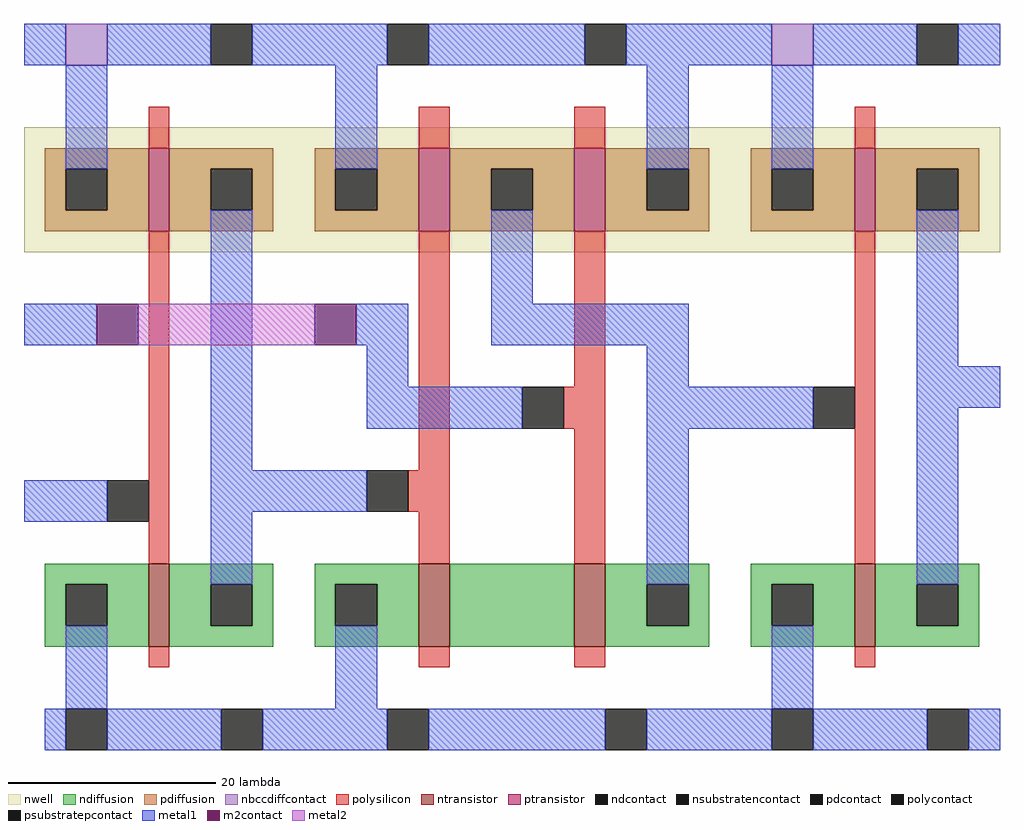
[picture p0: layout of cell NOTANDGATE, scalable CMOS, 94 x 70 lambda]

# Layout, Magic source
magic
tech scmos
<< nwell >>
rect -26 48 68 60
<< polysilicon >>
rect -14 58 -12 62
rect 12 58 15 62
rect 27 58 30 62
rect 54 58 56 62
rect -14 18 -12 50
rect 12 27 15 50
rect 27 35 30 50
rect 26 31 30 35
rect 11 23 15 27
rect 12 18 15 23
rect 27 18 30 31
rect 54 18 56 50
rect -14 8 -12 10
rect 12 8 15 10
rect 27 8 30 10
rect 54 8 56 10
<< ndiffusion >>
rect -24 16 -14 18
rect -24 12 -22 16
rect -18 12 -14 16
rect -24 10 -14 12
rect -12 16 -2 18
rect -12 12 -8 16
rect -4 12 -2 16
rect -12 10 -2 12
rect 2 16 12 18
rect 2 12 4 16
rect 8 12 12 16
rect 2 10 12 12
rect 15 10 27 18
rect 30 16 40 18
rect 30 12 34 16
rect 38 12 40 16
rect 30 10 40 12
rect 44 16 54 18
rect 44 12 46 16
rect 50 12 54 16
rect 44 10 54 12
rect 56 16 66 18
rect 56 12 60 16
rect 64 12 66 16
rect 56 10 66 12
<< pdiffusion >>
rect -24 56 -14 58
rect -24 52 -22 56
rect -18 52 -14 56
rect -24 50 -14 52
rect -12 56 -2 58
rect -12 52 -8 56
rect -4 52 -2 56
rect -12 50 -2 52
rect 2 56 12 58
rect 2 52 4 56
rect 8 52 12 56
rect 2 50 12 52
rect 15 56 27 58
rect 15 52 19 56
rect 23 52 27 56
rect 15 50 27 52
rect 30 56 40 58
rect 30 52 34 56
rect 38 52 40 56
rect 30 50 40 52
rect 44 56 54 58
rect 44 52 46 56
rect 50 52 54 56
rect 44 50 54 52
rect 56 56 66 58
rect 56 52 60 56
rect 64 52 66 56
rect 56 50 66 52
<< metal1 >>
rect -26 66 -22 70
rect -18 66 -8 70
rect -4 66 9 70
rect 13 66 28 70
rect 32 66 46 70
rect 50 66 60 70
rect 64 66 68 70
rect -22 56 -18 66
rect 4 56 8 66
rect 34 56 38 66
rect 46 56 50 66
rect -26 39 -19 43
rect -8 27 -4 52
rect 19 43 23 52
rect 6 39 11 43
rect 19 39 38 43
rect 7 35 11 39
rect 34 35 38 39
rect 60 37 64 52
rect 7 31 22 35
rect 34 31 50 35
rect 60 33 68 37
rect -26 22 -18 26
rect -8 23 7 27
rect -8 16 -4 23
rect 34 16 38 31
rect 60 16 64 33
rect -22 4 -18 12
rect 4 4 8 12
rect 46 4 50 12
rect -24 0 -22 4
rect -18 0 -7 4
rect -3 0 9 4
rect 13 0 30 4
rect 34 0 46 4
rect 50 0 61 4
rect 65 0 68 4
<< metal2 >>
rect -15 39 2 43
<< ntransistor >>
rect -14 10 -12 18
rect 12 10 15 18
rect 27 10 30 18
rect 54 10 56 18
<< ptransistor >>
rect -14 50 -12 58
rect 12 50 15 58
rect 27 50 30 58
rect 54 50 56 58
<< polycontact >>
rect -18 22 -14 26
rect 22 31 26 35
rect 50 31 54 35
rect 7 23 11 27
<< ndcontact >>
rect -22 12 -18 16
rect -8 12 -4 16
rect 4 12 8 16
rect 34 12 38 16
rect 46 12 50 16
rect 60 12 64 16
<< pdcontact >>
rect -22 52 -18 56
rect -8 52 -4 56
rect 4 52 8 56
rect 19 52 23 56
rect 34 52 38 56
rect 46 52 50 56
rect 60 52 64 56
<< nbccdiffcontact >>
rect -22 66 -18 70
rect 46 66 50 70
<< m2contact >>
rect -19 39 -15 43
rect 2 39 6 43
<< psubstratepcontact >>
rect -22 0 -18 4
rect -7 0 -3 4
rect 9 0 13 4
rect 30 0 34 4
rect 46 0 50 4
rect 61 0 65 4
<< nsubstratencontact >>
rect -8 66 -4 70
rect 9 66 13 70
rect 28 66 32 70
rect 60 66 64 70
<< end >>
